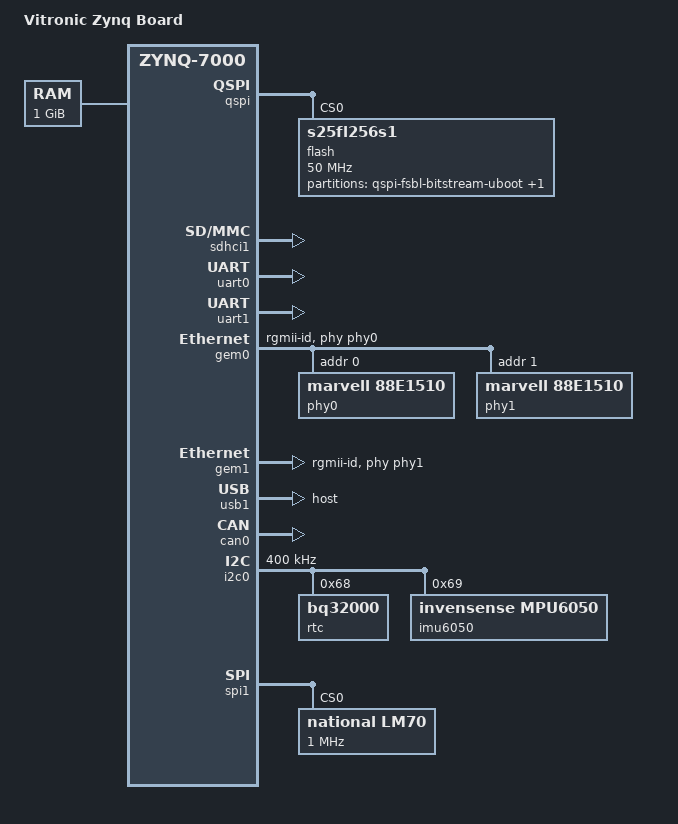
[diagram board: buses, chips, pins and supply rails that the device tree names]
/*
*  Description: Device Tree for Vitronic Zynq Board
*               
*      Created: Adeel Ashraf
*      Company: VITRONIC GmbH
*
*               Copyright (c) 2013
*               All rights reserved
*
*      Remarks: 
*               
*/
/dts-v1/;
/include/ "zynq-7000.dtsi"

/ {
	model = "Vitronic Zynq Board";
	compatible = "xlnx,zynq-7000";

	aliases {
		ethernet0 = &gem0;
		ethernet1 = &gem1;
		serial0 = &uart0;
		serial1 = &uart1;
		spi0 = &qspi;
	};

	memory@0{
		device_type = "memory";
		reg = <0x0 0x40000000>;
	};

	chosen {
		bootargs = "console=ttyPS1,115200 root=/dev/mmcblk0p2 rw earlyprintk rootfstype=ext4 rootwait devtmpfs.mount=0 mem=512M";
		/*bootargs = "console=ttyPS1,115200 root=/dev/ram rw earlyprintk mem=512M";*/
		linux,stdout-path = "/amba/serial@e0001000";
	};	
	
	cpus {
		cpu@0 {
			operating-points = <
				/* kHz    uV */
				866666  1000000
				783333  1000000
				666667  1000000
				333334  1000000
			>;
		};
	};

	amba{
		ViAXI2PL: ViAXI2PL@40000000 {
			reg = < 0x40000000 0x00400000 >;
		};   
		
		ViDMA_0: ViDMA_0@60000000 {
			reg = < 0x60000000 0x00004000 >;
		}; 
		
		
		ViDMA_1: ViDMA_1@70000000 {
			reg = < 0x70000000 0x00004000 >;
		}; 
		
		ViINTC: ViINTC@60010000 {
			interrupt-parent = <&intc>;
			interrupts = <0x0 52 0x4>;
			reg = < 0x60010000 0x00001000 >;
		};
    };
};

&qspi {
	status = "okay";
	is-dual = <0>;
	num-cs = <1>;
	xlnx,fb-clk = <0x1>;
	xlnx,qspi-mode = <0x0>;
	flash@0 {
		compatible = "s25fl256s1";
		reg = <0x0>;
		spi-tx-bus-width = <1>;
		spi-rx-bus-width = <4>;
		spi-max-frequency = <50000000>;
		#address-cells = <1>;
		#size-cells = <1>;
			
        partition@qspi-fsbl-bitstream-uboot {
            label = "qspi-fsbl-bitstream-uboot";
            reg = <0x0 0x800000>;
         };
        
        partition@qspi-user {
            label = "qspi-user";
            reg = <0x800000 0x1800000>;
        };
    };
};

&sdhci1 {
	status = "okay";
};

&uart0 {
    status = "okay";
};

&uart1 {
    status = "okay";
};

&watchdog0 {
    reset = <1>;
    timeout-sec = <120>;
};

&gem0 {
	status = "okay";
	phy-mode = "rgmii-id";
	phy-handle = <&phy0>;
	phy0: phy@0 {
        compatible = "marvell,88e1510";
        device_type = "ethernet-phy";
        reg = <0>;
        marvell,reg-init = <3 16 0xf000 0x825 3 17 0xfff0 0x0a>;
    };
    phy1: phy@1 {
        compatible = "marvell,88e1510";
        device_type = "ethernet-phy";
        reg = <1>;
        marvell,reg-init = <3 16 0xf000 0x825 3 17 0xfff0 0x0a>;
    };
};

&gem1 {
	status = "okay";
	phy-mode = "rgmii-id";
	phy-handle = <&phy1>;
};

&usb1 {
	status = "okay";
	dr_mode = "host";
	phy_type = "ulpi";
	usb-reset = <&gpio0 7 0>;
};

&can0 {
	status = "okay";
};

&i2c0 {
	status = "okay";
	clock-frequency = <400000>;
	
    rtc@68 {
        compatible = "bq32000";
        reg = <0x68>;
    };

    imu6050@69 {
        compatible = "invensense,mpu6050";
        reg = <0x69>;
        //invensense,int_config = <0x0>;
        //invensense,level_shifter = <0>;
        //invensense,orientation = [01 00 00 00 01 00 00 00 01];
        //invensense,sec_slave_type = <0>;
        //invensense,key = [4e cc 7e eb f6 1e 35 22 00 34 0d 65 32 e9 94 89];
        interrupts = <0 36 1>;
    };
};

&spi1 {
	status = "okay";
    interrupts = < 0 49 1 >;
    num-chip-select = <4>;
    reg = < 0xe0007000 0x1000 >;
    speed-hz = <100000000>;		    
    
    lm70@0{
        compatible = "national,lm70";
        reg =<0>;  
        spi-max-frequency= <1000000>;
    };
};

